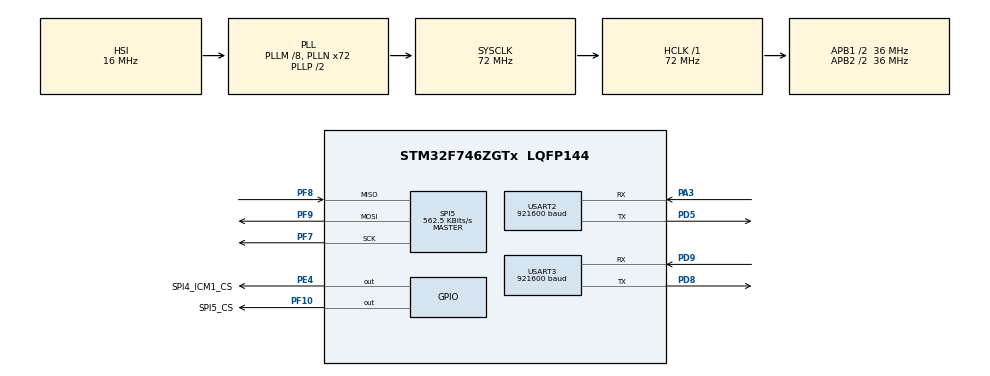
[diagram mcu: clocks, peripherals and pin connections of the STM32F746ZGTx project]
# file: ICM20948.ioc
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CORTEX_M7.default_mode_Activation=1
Mcu.Family=STM32F7
Mcu.Name=STM32F746ZGTx
Mcu.Package=LQFP144
NVIC.PriorityGroup=NVIC_PRIORITYGROUP_4
PA3.Mode=Asynchronous
PA3.Signal=USART2_RX
PD5.Mode=Asynchronous
PD5.Signal=USART2_TX
PD8.Mode=Asynchronous
PD8.Signal=USART3_TX
PD9.Mode=Asynchronous
PD9.Signal=USART3_RX
PE4.GPIO_Label=SPI4_ICM1_CS
PE4.GPIO_PuPd=GPIO_NOPULL
PE4.GPIO_Speed=GPIO_SPEED_FREQ_VERY_HIGH
PE4.PinState=GPIO_PIN_SET
PE4.Signal=GPIO_Output
PF10.GPIO_Label=SPI5_CS
PF10.GPIO_PuPd=GPIO_PULLUP
PF10.GPIO_Speed=GPIO_SPEED_FREQ_VERY_HIGH
PF10.PinState=GPIO_PIN_SET
PF10.Signal=GPIO_Output
PF7.Mode=Full_Duplex_Master
PF7.Signal=SPI5_SCK
PF8.Mode=Full_Duplex_Master
PF8.Signal=SPI5_MISO
PF9.Mode=Full_Duplex_Master
PF9.Signal=SPI5_MOSI
ProjectManager.HeapSize=0x200
ProjectManager.StackSize=0x400
ProjectManager.TargetToolchain=STM32CubeIDE
RCC.AHBFreq_Value=72000000
RCC.APB1CLKDivider=RCC_HCLK_DIV2
RCC.APB1Freq_Value=36000000
RCC.APB1TimFreq_Value=72000000
RCC.APB2CLKDivider=RCC_HCLK_DIV2
RCC.APB2Freq_Value=36000000
RCC.APB2TimFreq_Value=72000000
RCC.CortexFreq_Value=72000000
RCC.HCLKFreq_Value=72000000
RCC.HSE_VALUE=25000000
RCC.HSI_VALUE=16000000
RCC.LSE_VALUE=32768
RCC.PLLM=8
RCC.PLLN=72
RCC.SYSCLKFreq_VALUE=72000000
RCC.SYSCLKSource=RCC_SYSCLKSOURCE_PLLCLK
RCC.USBFreq_Value=72000000
RCC.VCOOutputFreq_Value=144000000
SPI5.BaudRatePrescaler=SPI_BAUDRATEPRESCALER_64
SPI5.CLKPhase=SPI_PHASE_2EDGE
SPI5.CLKPolarity=SPI_POLARITY_HIGH
SPI5.CalculateBaudRate=562.5 KBits/s
SPI5.DataSize=SPI_DATASIZE_8BIT
SPI5.Direction=SPI_DIRECTION_2LINES
SPI5.Mode=SPI_MODE_MASTER
SPI5.VirtualType=VM_MASTER
USART2.BaudRate=921600
USART2.VirtualMode-Asynchronous=VM_ASYNC
USART3.BaudRate=921600
USART3.VirtualMode-Asynchronous=VM_ASYNC
board=custom

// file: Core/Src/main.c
/* USER CODE BEGIN Header */
/**
 ******************************************************************************
 * @file           : main.c
 * @brief          : Main program body
 ******************************************************************************
 * @attention
 *
 * Copyright (c) 2025 STMicroelectronics.
 * All rights reserved.
 *
 * This software is licensed under terms that can be found in the LICENSE file
 * in the root directory of this software component.
 * If no LICENSE file comes with this software, it is provided AS-IS.
 *
 ******************************************************************************
 */
/* USER CODE END Header */
#include "main.h"

/* USER CODE BEGIN Includes */
#include <stdio.h>
#include <math.h>
#include "ICM20948.h"
/* USER CODE END Includes */

SPI_HandleTypeDef hspi5;

UART_HandleTypeDef huart2;
UART_HandleTypeDef huart3;

void SystemClock_Config(void);
static void MPU_Config(void);
static void MX_GPIO_Init(void);
static void MX_USART3_UART_Init(void);
static void MX_USART2_UART_Init(void);
static void MX_SPI5_Init(void);

/* USER CODE BEGIN 0 */
#ifdef __GNUC__
/* With GCC/RAISONANCE, small printf (option LD Linker->Libraries->Small printf
   set to 'Yes') calls __io_putchar() */
#define PUTCHAR_PROTOTYPE int __io_putchar(int ch)
#else
#define PUTCHAR_PROTOTYPE int fputc(int ch, FILE *f)
#endif /* __GNUC__ */

PUTCHAR_PROTOTYPE
{
  /* Place your implementation of fputc here */
  /* e.g. write a character to the USART3 and Loop until the end of transmission
      return ch; */
  HAL_UART_Transmit(&huart2, (uint8_t *)&ch, 1, 0xFFFF);
  return ch;
}

ICM20948_HandleTypeDef ICM = {
    .hspi = &hspi5,
    .CS_GPIO_Port = SPI5_CS_GPIO_Port,
    .CS_Pin = SPI5_CS_Pin};
/* USER CODE END 0 */

int main(void)
{

  /* MPU Configuration--------------------------------------------------------*/
  MPU_Config();

  /* MCU Configuration--------------------------------------------------------*/

  /* Reset of all peripherals, Initializes the Flash interface and the Systick. */
  HAL_Init();

  /* Configure the system clock */
  SystemClock_Config();

  /* Initialize all configured peripherals */
  MX_GPIO_Init();
  MX_USART3_UART_Init();
  MX_USART2_UART_Init();
  MX_SPI5_Init();
  /* USER CODE BEGIN 2 */
  HAL_Delay(1000);
  printf("STM32F7xx HAL Driver Example: SPI in Master Mode\r\n");
  HAL_Delay(1000);

  ICM20948.Init(&ICM);
  // ICM20948.SetMounting(&ICM, AXIS_Z, SIGN_NEG, AXIS_Y, SIGN_POS, AXIS_X, SIGN_POS);
  ICM20948.SetMounting(&ICM,
      AXIS_Z, SIGN_NEG,  // Robot Front (X) = Sensor -Z
      AXIS_Y, SIGN_POS,  // Robot Right (Y) = Sensor Y
      AXIS_X, SIGN_POS   // Robot Up (Z)    = Sensor X
  );

  // ICM20948.CalibrateGyro(&ICM);
  // ICM20948.CalibrateMag(&ICM);
  // ICM20948.CalibrateAccel(&ICM);

  /* USER CODE END 2 */

  /* Infinite loop */
  while (1)
  {

    /* USER CODE BEGIN 3 */
    ICM20948.ReadData(&ICM);
    // printf("Raw mag: X=%4d Y=%4d Z=%4d\r\n",
    //        ICM.raw.mag.x, ICM.raw.mag.y, ICM.raw.mag.z);

    printf("Accel: X=%4.6f Y=%4.6f Z=%4.6f | Gyro: X=%4.6f Y=%4.6f Z=%4.6f | Mag: X=%4.6f Y=%4.6f Z=%4.6f | Temp: %3.2f C\r\n",
           ICM.sensor.accel.x, ICM.sensor.accel.y, ICM.sensor.accel.z,
           ICM.sensor.gyro.x, ICM.sensor.gyro.y, ICM.sensor.gyro.z,
           ICM.sensor.mag.x, ICM.sensor.mag.y, ICM.sensor.mag.z,
           ICM.sensor.temp);
  }
  /* USER CODE END 3 */
}

void SystemClock_Config(void)
{
  RCC_OscInitTypeDef RCC_OscInitStruct = {0};
  RCC_ClkInitTypeDef RCC_ClkInitStruct = {0};

  /** Configure the main internal regulator output voltage
   */
  __HAL_RCC_PWR_CLK_ENABLE();
  __HAL_PWR_VOLTAGESCALING_CONFIG(PWR_REGULATOR_VOLTAGE_SCALE3);

  /** Initializes the RCC Oscillators according to the specified parameters
   * in the RCC_OscInitTypeDef structure.
   */
  RCC_OscInitStruct.OscillatorType = RCC_OSCILLATORTYPE_HSI;
  RCC_OscInitStruct.HSIState = RCC_HSI_ON;
  RCC_OscInitStruct.HSICalibrationValue = RCC_HSICALIBRATION_DEFAULT;
  RCC_OscInitStruct.PLL.PLLState = RCC_PLL_ON;
  RCC_OscInitStruct.PLL.PLLSource = RCC_PLLSOURCE_HSI;
  RCC_OscInitStruct.PLL.PLLM = 8;
  RCC_OscInitStruct.PLL.PLLN = 72;
  RCC_OscInitStruct.PLL.PLLP = RCC_PLLP_DIV2;
  RCC_OscInitStruct.PLL.PLLQ = 2;
  if (HAL_RCC_OscConfig(&RCC_OscInitStruct) != HAL_OK)
  {
    Error_Handler();
  }

  /** Initializes the CPU, AHB and APB buses clocks
   */
  RCC_ClkInitStruct.ClockType = RCC_CLOCKTYPE_HCLK | RCC_CLOCKTYPE_SYSCLK | RCC_CLOCKTYPE_PCLK1 | RCC_CLOCKTYPE_PCLK2;
  RCC_ClkInitStruct.SYSCLKSource = RCC_SYSCLKSOURCE_PLLCLK;
  RCC_ClkInitStruct.AHBCLKDivider = RCC_SYSCLK_DIV1;
  RCC_ClkInitStruct.APB1CLKDivider = RCC_HCLK_DIV2;
  RCC_ClkInitStruct.APB2CLKDivider = RCC_HCLK_DIV2;

  if (HAL_RCC_ClockConfig(&RCC_ClkInitStruct, FLASH_LATENCY_2) != HAL_OK)
  {
    Error_Handler();
  }
}

static void MX_SPI5_Init(void)
{

  /* SPI5 parameter configuration*/
  hspi5.Instance = SPI5;
  hspi5.Init.Mode = SPI_MODE_MASTER;
  hspi5.Init.Direction = SPI_DIRECTION_2LINES;
  hspi5.Init.DataSize = SPI_DATASIZE_8BIT;
  hspi5.Init.CLKPolarity = SPI_POLARITY_HIGH;
  hspi5.Init.CLKPhase = SPI_PHASE_2EDGE;
  hspi5.Init.NSS = SPI_NSS_SOFT;
  hspi5.Init.BaudRatePrescaler = SPI_BAUDRATEPRESCALER_64;
  hspi5.Init.FirstBit = SPI_FIRSTBIT_MSB;
  hspi5.Init.TIMode = SPI_TIMODE_DISABLE;
  hspi5.Init.CRCCalculation = SPI_CRCCALCULATION_DISABLE;
  hspi5.Init.CRCPolynomial = 7;
  hspi5.Init.CRCLength = SPI_CRC_LENGTH_DATASIZE;
  hspi5.Init.NSSPMode = SPI_NSS_PULSE_DISABLE;
  if (HAL_SPI_Init(&hspi5) != HAL_OK)
  {
    Error_Handler();
  }
}

static void MX_USART2_UART_Init(void)
{

  huart2.Instance = USART2;
  huart2.Init.BaudRate = 921600;
  huart2.Init.WordLength = UART_WORDLENGTH_8B;
  huart2.Init.StopBits = UART_STOPBITS_1;
  huart2.Init.Parity = UART_PARITY_NONE;
  huart2.Init.Mode = UART_MODE_TX_RX;
  huart2.Init.HwFlowCtl = UART_HWCONTROL_NONE;
  huart2.Init.OverSampling = UART_OVERSAMPLING_16;
  huart2.Init.OneBitSampling = UART_ONE_BIT_SAMPLE_DISABLE;
  huart2.AdvancedInit.AdvFeatureInit = UART_ADVFEATURE_NO_INIT;
  if (HAL_UART_Init(&huart2) != HAL_OK)
  {
    Error_Handler();
  }
}

static void MX_USART3_UART_Init(void)
{

  huart3.Instance = USART3;
  huart3.Init.BaudRate = 921600;
  huart3.Init.WordLength = UART_WORDLENGTH_8B;
  huart3.Init.StopBits = UART_STOPBITS_1;
  huart3.Init.Parity = UART_PARITY_NONE;
  huart3.Init.Mode = UART_MODE_TX_RX;
  huart3.Init.HwFlowCtl = UART_HWCONTROL_NONE;
  huart3.Init.OverSampling = UART_OVERSAMPLING_16;
  huart3.Init.OneBitSampling = UART_ONE_BIT_SAMPLE_DISABLE;
  huart3.AdvancedInit.AdvFeatureInit = UART_ADVFEATURE_NO_INIT;
  if (HAL_UART_Init(&huart3) != HAL_OK)
  {
    Error_Handler();
  }
}

static void MX_GPIO_Init(void)
{
  GPIO_InitTypeDef GPIO_InitStruct = {0};

  /* GPIO Ports Clock Enable */
  __HAL_RCC_GPIOE_CLK_ENABLE();
  __HAL_RCC_GPIOF_CLK_ENABLE();
  __HAL_RCC_GPIOA_CLK_ENABLE();
  __HAL_RCC_GPIOD_CLK_ENABLE();

  /*Configure GPIO pin Output Level */
  HAL_GPIO_WritePin(SPI4_ICM1_CS_GPIO_Port, SPI4_ICM1_CS_Pin, GPIO_PIN_SET);

  /*Configure GPIO pin Output Level */
  HAL_GPIO_WritePin(SPI5_CS_GPIO_Port, SPI5_CS_Pin, GPIO_PIN_SET);

  /*Configure GPIO pin : SPI4_ICM1_CS_Pin */
  GPIO_InitStruct.Pin = SPI4_ICM1_CS_Pin;
  GPIO_InitStruct.Mode = GPIO_MODE_OUTPUT_PP;
  GPIO_InitStruct.Pull = GPIO_NOPULL;
  GPIO_InitStruct.Speed = GPIO_SPEED_FREQ_VERY_HIGH;
  HAL_GPIO_Init(SPI4_ICM1_CS_GPIO_Port, &GPIO_InitStruct);

  /*Configure GPIO pin : SPI5_CS_Pin */
  GPIO_InitStruct.Pin = SPI5_CS_Pin;
  GPIO_InitStruct.Mode = GPIO_MODE_OUTPUT_PP;
  GPIO_InitStruct.Pull = GPIO_PULLUP;
  GPIO_InitStruct.Speed = GPIO_SPEED_FREQ_VERY_HIGH;
  HAL_GPIO_Init(SPI5_CS_GPIO_Port, &GPIO_InitStruct);

}

/* MPU Configuration */

void MPU_Config(void)
{
  MPU_Region_InitTypeDef MPU_InitStruct = {0};

  /* Disables the MPU */
  HAL_MPU_Disable();

  /** Initializes and configures the Region and the memory to be protected
   */
  MPU_InitStruct.Enable = MPU_REGION_ENABLE;
  MPU_InitStruct.Number = MPU_REGION_NUMBER0;
  MPU_InitStruct.BaseAddress = 0x0;
  MPU_InitStruct.Size = MPU_REGION_SIZE_4GB;
  MPU_InitStruct.SubRegionDisable = 0x87;
  MPU_InitStruct.TypeExtField = MPU_TEX_LEVEL0;
  MPU_InitStruct.AccessPermission = MPU_REGION_NO_ACCESS;
  MPU_InitStruct.DisableExec = MPU_INSTRUCTION_ACCESS_DISABLE;
  MPU_InitStruct.IsShareable = MPU_ACCESS_SHAREABLE;
  MPU_InitStruct.IsCacheable = MPU_ACCESS_NOT_CACHEABLE;
  MPU_InitStruct.IsBufferable = MPU_ACCESS_NOT_BUFFERABLE;

  HAL_MPU_ConfigRegion(&MPU_InitStruct);
  /* Enables the MPU */
  HAL_MPU_Enable(MPU_PRIVILEGED_DEFAULT);
}

void Error_Handler(void)
{
  __disable_irq();
  while (1)
  {
  }
}
